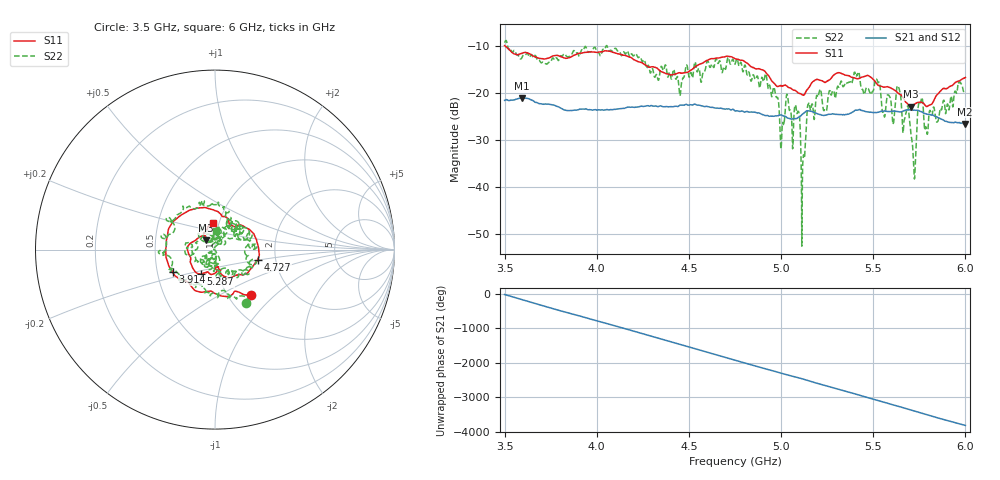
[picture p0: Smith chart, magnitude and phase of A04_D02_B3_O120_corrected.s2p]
! Created with skrf 1.9.0 (http://scikit-rf.org).
# Hz S RI R 50.0
!freq ReS11 ImS11 ReS21 ImS21 ReS12 ImS12 ReS22 ImS22
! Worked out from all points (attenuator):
!   1601 points, 3.5 GHz to 6 GHz, reference 50 ohm
!   highest |S21| = -20.99 dB at 3.592 GHz (marker M1); lowest = -26.5 dB at 5.997 GHz (marker M2)
!   lowest |S11| = -22.9 dB at 5.703 GHz (marker M3), VSWR 1.16, Z = 45.1 + j4.77 ohm
!   |S11| at or under -10 dB: 3.505 GHz to end of sweep
!   |S22| runs from -52.6 to -8.8 dB; largest |S21 - S12| = 0.001
!   S11 on the Smith chart (normalised r, x): 3.5 GHz: 1.27, -0.72; 3.914 GHz: 0.60, -0.16; 4.727 GHz: 1.61, -0.19; 5.287 GHz: 0.83, -0.23; 6 GHz: 0.94, +0.28
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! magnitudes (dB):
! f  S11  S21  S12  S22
! 3.5 GHz  -9.8  -21.5  -21.5  -9.2
! 3.592 GHz  -11.5  -21.0  -21.0  -12.5
! 3.914 GHz  -11.5  -23.4  -23.3  -11.1
! 3.917 GHz  -11.4  -23.4  -23.3  -10.8
! 4.334 GHz  -14.9  -22.8  -22.8  -17.2
! 4.727 GHz  -12.2  -23.5  -23.4  -13.8
! 4.75 GHz  -12.6  -23.8  -23.7  -13.8
! 4.969 GHz  -18.2  -24.8  -24.8  -20.1
! 5.005 GHz  -18.4  -24.7  -24.7  -27.9
! 5.086 GHz  -19.7  -25.4  -25.3  -24.3
! 5.119 GHz  -20.4  -24.4  -24.3  -34.1
! 5.145 GHz  -19.1  -23.7  -23.7  -22.4
! 5.167 GHz  -17.7  -23.9  -23.8  -22.3
! 5.287 GHz  -16.1  -24.4  -24.4  -19.7
! 5.584 GHz  -18.7  -23.9  -23.8  -20.4
! 5.638 GHz  -20.0  -23.9  -23.9  -18.7
! 5.703 GHz  -22.9  -23.6  -23.5  -28.0
! 5.722 GHz  -22.4  -23.6  -23.5  -37.0
! 5.756 GHz  -21.9  -23.9  -23.8  -22.0
! 5.787 GHz  -22.8  -24.4  -24.3  -27.4
! 5.997 GHz  -16.7  -26.5  -26.4  -19.5
! 6 GHz  -16.7  -26.5  -26.4  -19.6
